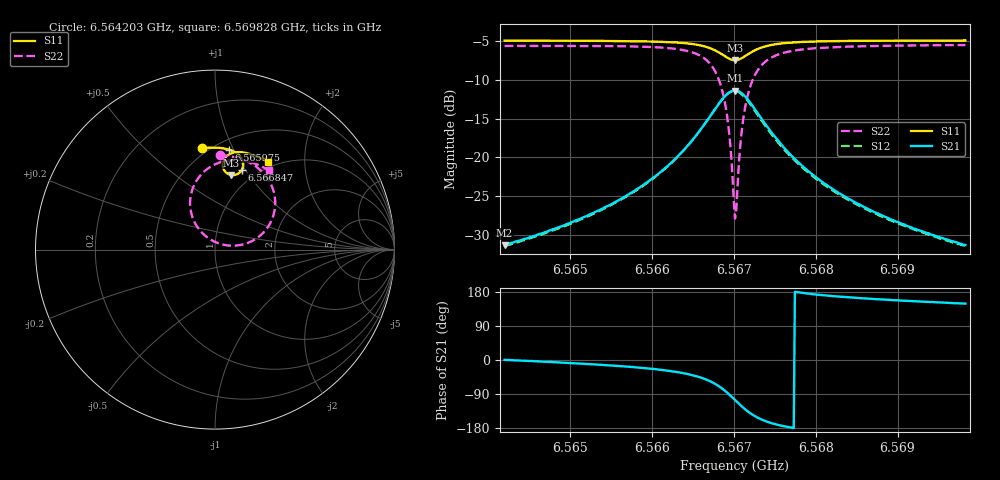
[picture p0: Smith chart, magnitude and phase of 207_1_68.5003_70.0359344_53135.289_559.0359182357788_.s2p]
#  HZ  S  RI  R  50.00
! Rohde & Schwarz Vector Network Analyzer
! Rohde-Schwarz,ZNB20-2Port,1311601062101988,3.16
! Created: UTC 3/20/2024, 4:57:52 PM
! freq[Hz]  re:S11  im:S11  re:S21  im:S21  re:S12  im:S12  re:S22  im:S22
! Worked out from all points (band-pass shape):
!   401 points, 6.564203 GHz to 6.569828 GHz, reference 50 ohm
!   highest |S21| = -11.35 dB at 6.567016 GHz (marker M1); lowest = -31.4 dB at 6.564203 GHz (marker M2)
!   |S21| within 3 dB of the highest: 6.566734 GHz to 6.567297 GHz (562.8 kHz wide, 0.00857 % of centre)
!   lowest |S11| = -7.4 dB at 6.567016 GHz (marker M3), VSWR 2.48, Z = 40.7 + j41.4 ohm
!   |S11| at or under -10 dB: nowhere
!   |S22| runs from -27.9 to -5.5 dB; largest |S21 - S12| = 0.013
!   S11 on the Smith chart (normalised r, x): 6.564203 GHz: 0.46, +0.77; 6.565975 GHz: 0.59, +0.96; 6.566847 GHz: 0.85, +0.96; 6.569828 GHz: 0.92, +1.33
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6.5642031e9  -0.0743 0.5642  0.027 0.000269  0.0266 -0.000333  0.0254 0.5258
6.5651453e9  0.00216 0.568  0.0399 -0.00693  0.0392 -0.00746  0.1133 0.5142
6.5659751e9  0.0782 0.5568  0.0653 -0.0275  0.0644 -0.0281  0.2167 0.4708
6.5660876e9  0.0898 0.553  0.0713 -0.0337  0.0701 -0.0346  0.2351 0.4577
6.566397e9  0.1248 0.5346  0.0917 -0.065  0.0902 -0.0663  0.2936 0.396
6.566622e9  0.1503 0.5042  0.1053 -0.1176  0.1028 -0.1199  0.3329 0.2944
6.5667485e9  0.1575 0.474  0.0982 -0.1707  0.094 -0.1735  0.3262 0.1934
6.566847e9  0.1492 0.4434  0.0664 -0.2229  0.0592 -0.2257  0.2701 0.0953
6.5668892e9  0.1393 0.4308  0.041 -0.2439  0.032 -0.2456  0.2235 0.0574
6.5669314e9  0.1249 0.4206  0.0078 -0.2596  -0.00262 -0.2594  0.1629 0.0304
6.5669595e9  0.1133 0.4164  -0.0178 -0.2651  -0.029 -0.2634  0.1162 0.0222
6.5670017e9  0.0941 0.415  -0.059 -0.2641  -0.0703 -0.2595  0.0432 0.028
6.5670157e9  0.0876 0.416  -0.0727 -0.2609  -0.0837 -0.2552  0.0196 0.035
6.5670439e9  0.0754 0.4202  -0.0987 -0.2508  -0.1089 -0.2433  -0.0247 0.0558
6.5670861e9  0.0598 0.4312  -0.1317 -0.2273  -0.1397 -0.2178  -0.0793 0.1013
6.5671282e9  0.0493 0.4458  -0.1555 -0.1977  -0.1606 -0.1871  -0.1157 0.1562
6.5671845e9  0.0431 0.4668  -0.1721 -0.1562  -0.174 -0.1458  -0.1372 0.2307
6.5672548e9  0.0453 0.4901  -0.1746 -0.1105  -0.1738 -0.1014  -0.1331 0.3105
6.567508e9  0.0835 0.5331  -0.1324 -0.0246  -0.1294 -0.0207  -0.0367 0.4537
6.567958e9  0.1441 0.5427  -0.0773 0.0083  -0.0754 0.00936  0.0911 0.4985
6.5689002e9  0.2301 0.5208  -0.0373 0.0148  -0.0364 0.0148  0.2207 0.4793
6.5698284e9  0.2979 0.4871  -0.0232 0.014  -0.0226 0.0141  0.3001 0.4413
